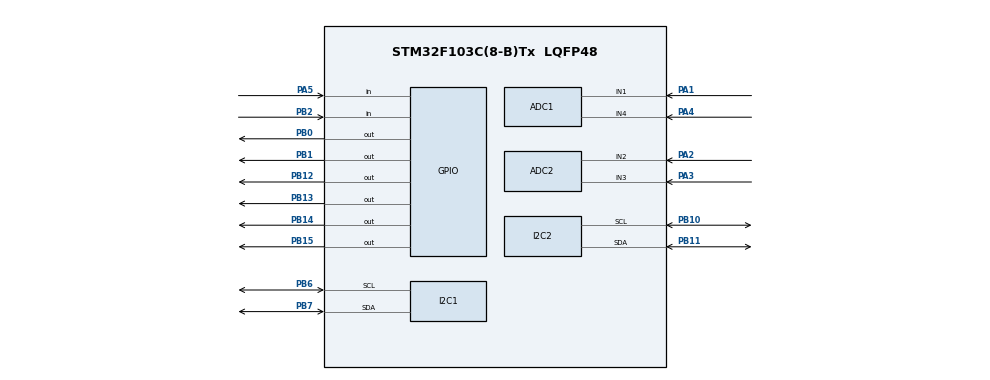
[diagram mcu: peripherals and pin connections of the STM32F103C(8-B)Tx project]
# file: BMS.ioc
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ADC1.Channel-0\#ChannelRegularConversion=ADC_CHANNEL_1
ADC1.NbrOfConversionFlag=1
ADC1.Rank-0\#ChannelRegularConversion=1
ADC1.SamplingTime-0\#ChannelRegularConversion=ADC_SAMPLETIME_1CYCLE_5
ADC1.master=1
ADC2.Channel-0\#ChannelRegularConversion=ADC_CHANNEL_3
ADC2.NbrOfConversionFlag=1
ADC2.Rank-0\#ChannelRegularConversion=1
ADC2.SamplingTime-0\#ChannelRegularConversion=ADC_SAMPLETIME_1CYCLE_5
I2C2.I2C_Mode=I2C_Standard
Mcu.Family=STM32F1
Mcu.Name=STM32F103C(8-B)Tx
Mcu.Package=LQFP48
NVIC.PriorityGroup=NVIC_PRIORITYGROUP_4
PA1.Signal=ADCx_IN1
PA13.Mode=Serial_Wire
PA13.Signal=SYS_JTMS-SWDIO
PA14.Mode=Serial_Wire
PA14.Signal=SYS_JTCK-SWCLK
PA2.Signal=ADCx_IN2
PA3.Signal=ADCx_IN3
PA4.Signal=ADCx_IN4
PA5.Signal=GPIO_Input
PB0.Signal=GPIO_Output
PB1.Signal=GPIO_Output
PB10.GPIO_Pu=GPIO_PULLUP
PB10.Mode=I2C
PB10.Signal=I2C2_SCL
PB11.GPIO_Pu=GPIO_PULLUP
PB11.Mode=I2C
PB11.Signal=I2C2_SDA
PB12.Signal=GPIO_Output
PB13.Signal=GPIO_Output
PB14.Signal=GPIO_Output
PB15.Signal=GPIO_Output
PB2.Signal=GPIO_Input
PB6.GPIO_Pu=GPIO_PULLUP
PB6.Mode=I2C
PB6.Signal=I2C1_SCL
PB7.GPIO_Pu=GPIO_PULLUP
PB7.Mode=I2C
PB7.Signal=I2C1_SDA
PC14-OSC32_IN.Signal=RCC_OSC32_IN
PC15-OSC32_OUT.Signal=RCC_OSC32_OUT
PD0-OSC_IN.Signal=RCC_OSC_IN
PD1-OSC_OUT.Signal=RCC_OSC_OUT
ProjectManager.HeapSize=0x200
ProjectManager.StackSize=0x400
ProjectManager.TargetToolchain=Makefile
RCC.AHBFreq_Value=8000000
RCC.APB1Freq_Value=8000000
RCC.APB1TimFreq_Value=8000000
RCC.APB2Freq_Value=8000000
RCC.APB2TimFreq_Value=8000000
RCC.HCLKFreq_Value=8000000
RCC.USBFreq_Value=8000000
SH.ADCx_IN1.0=ADC1_IN1,IN1
SH.ADCx_IN2.0=ADC2_IN2,IN2
SH.ADCx_IN3.0=ADC2_IN3,IN3
SH.ADCx_IN4.0=ADC1_IN4,IN4
board=custom

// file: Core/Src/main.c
/* USER CODE BEGIN Header */
/**
  ******************************************************************************
  * @file           : main.c
  * @brief          : Main program body
  ******************************************************************************
  * @attention
  *
  * <h2><center>&copy; Copyright (c) 2021 STMicroelectronics.
  * All rights reserved.</center></h2>
  *
  * This software component is licensed by ST under BSD 3-Clause license,
  * the "License"; You may not use this file except in compliance with the
  * License. You may obtain a copy of the License at:
  *                        opensource.org/licenses/BSD-3-Clause
  *
  ******************************************************************************
  */
/* USER CODE END Header */
#include "main.h"

/* USER CODE BEGIN PTD */

// Error LED codes
typedef enum BMS_Error_Code
{
 BMS_ERR_INIT_BQ77 = 1,
 BMS_ERR_CALS_ADC,
 BMS_ERR_EH           // Generic Handle_Error() error
} BMS_Error_Code;

// I2C slave commands (byte 1 recieved)
typedef enum BMS_I2C_Command
{
  BMS_GET_STATUS,
  BMS_GET_PACK_VOLTAGE,
  BMS_GET_CURRENT,
  // BMS_TURN_OUTPUT_ON,   // Only available in HOST control mode
  // BMS_TURN_OUTPUT_OFF   // Only available in HOST control mode
} BMS_I2C_Command;

/* USER CODE END PTD */

/* USER CODE BEGIN PD */

// Generic I2C stuff
#define BMS_I2C_TIMEOUT 35U   // In ms

// I2C Slave config
#define BMS_I2C_SLAVE_ADDR_BASE 0x40          // Base address of device

#define BMS_ERROR_VALUE 0xff  // Value returned if there was an error processing
                              //  a request on the slave I2C channel

// ADC polling timeout
#define BMS_ADC_TIMEOUT 35U   // In ms

// PINS
#define BMS_GPIO_0_BANK       GPIOB
#define BMS_GPIO_0_PIN        GPIO_PIN_0
#define BMS_GPIO_1_BANK       GPIOB
#define BMS_GPIO_1_PIN        GPIO_PIN_1
#define BMS_GPIO_SLOTID_BANK  GPIOB
#define BMS_GPIO_SLOTID_PIN   GPIO_PIN_2
#define BMS_GPIO_XALERT_BANK  GPIOA
#define BMS_GPIO_XALERT_PIN   GPIO_PIN_0
#define BMS_GPIO_VPACK_BANK   GPIOA
#define BMS_GPIO_VPACK_PIN    GPIO_PIN_1
#define BMS_GPIO_VOUT_BANK    GPIOA
#define BMS_GPIO_VOUT_PIN     GPIO_PIN_2
#define BMS_GPIO_IOUT_BANK    GPIOA
#define BMS_GPIO_IOUT_PIN     GPIO_PIN_3
#define BMS_GPIO_TEMP_BANK    GPIOA
#define BMS_GPIO_TEMP_PIN     GPIO_PIN_4
#define BMS_GPIO_LED0_BANK    GPIOB
#define BMS_GPIO_LED0_PIN     GPIO_PIN_12
#define BMS_GPIO_LED1_BANK    GPIOB
#define BMS_GPIO_LED1_PIN     GPIO_PIN_13
#define BMS_GPIO_LED2_BANK    GPIOB
#define BMS_GPIO_LED2_PIN     GPIO_PIN_14
#define BMS_GPIO_LED3_BANK    GPIOB
#define BMS_GPIO_LED3_PIN     GPIO_PIN_15

// ---
// Below: see Jan 2009 bq77PL900 datasheet
// ---

// I2C with bq77p900
#define BMS_BQ77_I2C_ADDR (0x10 << 1) // HEY: Does this need to be shifted?

// Registers
#define BMS_BQ77_STATUS   0x00
#define BMS_BQ77_OUTCTL   0x01
#define BMS_BQ77_STATECTL 0x02
#define BMS_BQ77_FUNCTL   0x03
#define BMS_BQ77_CELBALN  0x04
#define BMS_BQ77_CELSEL   0x05
#define BMS_BQ77_OVCFG    0x06
#define BMS_BQ77_UVCFG    0x07
#define BMS_BQ77_OUVCTL   0x08
#define BMS_BQ77_OCDCFG   0x09
#define BMS_BQ77_SCDCFG   0x0a
#define BMS_BQ77_EEPROM   0x0B

// See pg. 41
#define BMS_BQ77_STATUS_VGOOD (1 << 5)

// See pg. 42
// #define BMS_OC_DSC (1 << 1)
// #define BMS_OC_CHG (2 << 1)
#define BMS_FAST_SAMPL 0    // 0 = 50ms/cell, 1 = 100us/cell (pg. 42)

// See pg. 43
#define BMS_HOST_SHDWN 0    // In HOST mode, shutdown if PACK = 0V (disabled)
#define BMS_HOST_HMODE 0    // Set operating mode: 0 = auto, 1 = HOST
#define BMS_SNSE_CLVTG 0    // Sets cell voltage VGAIN (0.15)
#define BMS_SNSE_CLCUR 0    // Sets current monitor gain (10)

// See pg. 44
#define BMS_USES_THERM 0    // 0 = no thermistor, 1 = use thermistor

// Cell overvoltage controls
// See pg. 46
#define BMS_OV_THRSH 0x00   // The overvoltage threshold for a cell (4.15v)
#define BMS_OV_HYSTR 0x00   // Hysteresis voltage (0.1v)
#define BMS_OV_DLYTM 0x00   // Overvoltage delay time (0.5s)

// Cell undervoltage controls
// See pg. 47
#define BMS_UV_THRSH 0x00   // The overvoltage threshold for a cell (1.4v)
#define BMS_UV_HYSTR 0x00   // Hysteresis voltage (0.2v)
#define BMS_UV_SHDWN 0x00   // On undervoltage condition, automatically turn off
                            //  pack output

// Cell protection delays
// See pg. 48
#define BMS_OUV_VTRSH 0x00  // Voltage threshold?
#define BMS_OUV_DELAY 0x00  // Delay for UV condition (1s)

// Overcurrent controls
// See pg. 49
#define BMS_OCD_DELAY 0x00  // Delay for response after detection of overcurrent condition (20ms)
#define BMS_OCD_RCRMD 0     // Overcurrent/short circuit condition recovery mode (disconnected)
#define BMS_OCD_PRCRG 0     // 0-v precharge using GPOD enable (disabled)
#define BMS_OCD_BALNC 1     // Auto balance cells (enabled)

// Short-circuit controls
// See pg. 50
#define BMS_SCD_SCDVT 0x00  // Short-Circuit Discharge Voltage Threshold (60mV)
#define BMS_SCD_DELAY 0x01  // Short-circuit discharge delay (60us)

/* USER CODE END PD */

ADC_HandleTypeDef hadc1;
ADC_HandleTypeDef hadc2;

I2C_HandleTypeDef hi2c1;
I2C_HandleTypeDef hi2c2;

/* USER CODE BEGIN PV */

uint16_t bms_i2c_addr;  // Address of BMS (slave interface)
uint8_t data_buf;       // Data to be sent or received over I2C
uint32_t hadc_val;      // Read ADC value

/* USER CODE END PV */

void SystemClock_Config(void);
static void MX_GPIO_Init(void);
static void MX_ADC1_Init(void);
static void MX_ADC2_Init(void);
static void MX_I2C1_Init(void);
static void MX_I2C2_Init(void);
/* USER CODE BEGIN PFP */

// Display an error code on the LEDS
static void disp_error(BMS_Error_Code code);

/* USER CODE END PFP */

int main(void)
{

  /* MCU Configuration--------------------------------------------------------*/

  /* Reset of all peripherals, Initializes the Flash interface and the Systick. */
  HAL_Init();

  /* Configure the system clock */
  SystemClock_Config();

  /* Initialize all configured peripherals */
  MX_GPIO_Init();
  MX_ADC1_Init();
  MX_ADC2_Init();
  MX_I2C1_Init();
  MX_I2C2_Init();
  /* USER CODE BEGIN 2 */

  // Init GPIO
  HAL_GPIO_WritePin(BMS_GPIO_0_BANK, BMS_GPIO_0_PIN, GPIO_PIN_RESET);
  HAL_GPIO_WritePin(BMS_GPIO_1_BANK, BMS_GPIO_1_PIN, GPIO_PIN_RESET);

  // LEDs are on during init
  HAL_GPIO_WritePin(BMS_GPIO_LED0_BANK, BMS_GPIO_LED0_PIN, GPIO_PIN_SET);
  HAL_GPIO_WritePin(BMS_GPIO_LED1_BANK, BMS_GPIO_LED1_PIN, GPIO_PIN_SET);
  HAL_GPIO_WritePin(BMS_GPIO_LED2_BANK, BMS_GPIO_LED2_PIN, GPIO_PIN_SET);
  HAL_GPIO_WritePin(BMS_GPIO_LED3_BANK, BMS_GPIO_LED3_PIN, GPIO_PIN_SET);

  // Get slave address
  bms_i2c_addr = HAL_GPIO_ReadPin(BMS_GPIO_SLOTID_BANK, BMS_GPIO_SLOTID_PIN) | BMS_I2C_SLAVE_ADDR_BASE;

  // Setup the charge controller
  data_buf = (BMS_FAST_SAMPL << 7);
  if (HAL_I2C_Mem_Write(&hi2c2, BMS_BQ77_I2C_ADDR, BMS_BQ77_OUTCTL, 1, &data_buf, 1, BMS_I2C_TIMEOUT) == HAL_ERROR)
    disp_error(BMS_ERR_INIT_BQ77);

  data_buf = (BMS_SNSE_CLCUR << 7) | (BMS_SNSE_CLVTG << 6) | (BMS_HOST_HMODE << 1) | (BMS_HOST_SHDWN << 0);
  if (HAL_I2C_Mem_Write(&hi2c2, BMS_BQ77_I2C_ADDR, BMS_BQ77_STATECTL, 1, &data_buf, 1, BMS_I2C_TIMEOUT) == HAL_ERROR)
    disp_error(BMS_ERR_INIT_BQ77);

  data_buf = (BMS_USES_THERM << 5);
  if (HAL_I2C_Mem_Write(&hi2c2, BMS_BQ77_I2C_ADDR, BMS_BQ77_FUNCTL, 1, &data_buf, 1, BMS_I2C_TIMEOUT) == HAL_ERROR)
    disp_error(BMS_ERR_INIT_BQ77);

  data_buf = (BMS_OV_DLYTM << 5) | (BMS_OV_HYSTR << 3) | (BMS_OV_THRSH << 0);
  if (HAL_I2C_Mem_Write(&hi2c2, BMS_BQ77_I2C_ADDR, BMS_BQ77_OVCFG, 1, &data_buf, 1, BMS_I2C_TIMEOUT) == HAL_ERROR)
    disp_error(BMS_ERR_INIT_BQ77);

  data_buf = (BMS_UV_SHDWN << 6) | (BMS_UV_HYSTR << 4) | (BMS_UV_THRSH << 0);
  if (HAL_I2C_Mem_Write(&hi2c2, BMS_BQ77_I2C_ADDR, BMS_BQ77_UVCFG, 1, &data_buf, 1, BMS_I2C_TIMEOUT) == HAL_ERROR)
    disp_error(BMS_ERR_INIT_BQ77);

  data_buf = (BMS_OUV_DELAY << 4) | (BMS_OUV_VTRSH << 0);
  if (HAL_I2C_Mem_Write(&hi2c2, BMS_BQ77_I2C_ADDR, BMS_BQ77_OUVCTL, 1, &data_buf, 1, BMS_I2C_TIMEOUT) == HAL_ERROR)
    disp_error(BMS_ERR_INIT_BQ77);

  data_buf = (BMS_OCD_BALNC << 7) | (BMS_OCD_PRCRG << 6) | (BMS_OCD_RCRMD << 5) | (BMS_OCD_DELAY << 0);
  if (HAL_I2C_Mem_Write(&hi2c2, BMS_BQ77_I2C_ADDR, BMS_BQ77_OCDCFG, 1, &data_buf, 1, BMS_I2C_TIMEOUT) == HAL_ERROR)
    disp_error(BMS_ERR_INIT_BQ77);

  data_buf = (BMS_SCD_DELAY << 4) | (BMS_SCD_SCDVT << 0);
  if (HAL_I2C_Mem_Write(&hi2c2, BMS_BQ77_I2C_ADDR, BMS_BQ77_SCDCFG, 1, &data_buf, 1, BMS_I2C_TIMEOUT) == HAL_ERROR)
    disp_error(BMS_ERR_INIT_BQ77);

  HAL_ADC_Init(&hadc1);
  HAL_ADC_Init(&hadc2);

  /* Run the ADC calibration */
  if (HAL_ADCEx_Calibration_Start(&hadc1) != HAL_OK || HAL_ADCEx_Calibration_Start(&hadc2) != HAL_OK)
  {
    /* Calibration Error */
    disp_error(BMS_ERR_CALS_ADC);
  }

  // Shut off LEDs
  HAL_GPIO_WritePin(BMS_GPIO_LED0_BANK, BMS_GPIO_LED0_PIN, GPIO_PIN_RESET);
  HAL_GPIO_WritePin(BMS_GPIO_LED1_BANK, BMS_GPIO_LED1_PIN, GPIO_PIN_RESET);
  HAL_GPIO_WritePin(BMS_GPIO_LED2_BANK, BMS_GPIO_LED2_PIN, GPIO_PIN_RESET);
  HAL_GPIO_WritePin(BMS_GPIO_LED3_BANK, BMS_GPIO_LED3_PIN, GPIO_PIN_RESET);

  /* USER CODE END 2 */

  /* Infinite loop */
  /* USER CODE BEGIN WHILE */
  while (1)
  {
    // Check if there is any incoming commands from the PMS (blocking)
    if (HAL_I2C_Slave_Receive(&hi2c1, data_buf, 1, BMS_I2C_TIMEOUT) != HAL_OK)
    {
      /* intentionally empty, left for easy error handling implementation in the future */
    }
    else
    {
      switch ((uint8_t)data_buf)  // Only care about byte 0
      {
        case BMS_GET_STATUS:

          if (HAL_I2C_Mem_Read(&hi2c2, BMS_BQ77_I2C_ADDR, BMS_BQ77_STATUS, I2C_MEMADD_SIZE_8BIT, &data_buf, 1, BMS_I2C_TIMEOUT) == HAL_OK)
          {
            data_buf &= ~(BMS_BQ77_STATUS_VGOOD); // Return STATUS reg without EEPROM voltage flag
          }
          else
          {
            data_buf = BMS_ERROR_VALUE;
          }

          HAL_I2C_Slave_Transmit(&hi2c1, &data_buf, 1, BMS_I2C_TIMEOUT);
          break;
        case BMS_GET_PACK_VOLTAGE:

          HAL_ADC_Start(&hadc1);

          if (HAL_ADC_PollForConversion(&hadc1, BMS_ADC_TIMEOUT) == HAL_OK)
          {
            hadc_val = HAL_ADC_GetValue(&hadc1); // NOTE: not sure how to tell this which pin to read
          }
          else
          {
            hadc_val = 0;
          }

          HAL_ADC_Stop(&hadc1);

          // SEND BACK hadc_val
          HAL_I2C_Slave_Transmit(&hi2c1, &hadc_val, 4, BMS_I2C_TIMEOUT);

          break;
        case BMS_GET_CURRENT:

            HAL_ADC_Start(&hadc2);

            if (HAL_ADC_PollForConversion(&hadc2, BMS_ADC_TIMEOUT) == HAL_OK)
            {
              hadc_val = HAL_ADC_GetValue(&hadc2); // NOTE: not sure how to tell this which pin to read
            }
            else
            {
              hadc_val = 0;
            }

            HAL_ADC_Stop(&hadc2);

            // SEND BACK hadc_val
            HAL_I2C_Slave_Transmit(&hi2c1, &hadc_val, 4, BMS_I2C_TIMEOUT);

          break;
        // case BMS_TURN_OUTPUT_ON:   // Only available in HOST control mode

        //   if (BMS_HOST_HMODE)
        //   {
        //     data_buf = (BMS_OC_DSC) | (BMS_FAST_SAMPL << 7);
        //     if (HAL_I2C_Mem_Write(&hi2c2, BMS_BQ77_I2C_ADDR, BMS_BQ77_OUTCTL, I2C_MEMADD_SIZE_8BIT, &data_buf, 1, BMS_I2C_TIMEOUT) == HAL_OK)
        //     {
        //       data_buf = 0;
        //     }
        //     else
        //     {
        //       data_buf = BMS_ERROR_VALUE;
        //     }
        //     HAL_I2C_Slave_Transmit(&hi2c1, &data_buf, 1, BMS_I2C_TIMEOUT);
        //   }
        //   break;
        // case BMS_TURN_OUTPUT_OFF:   // Only available in HOST control mode

        //   if (BMS_HOST_HMODE)
        //   {
        //     // SOMETHING
        //   }
        //   break;
        default:

          break;
      }
    }

    /* USER CODE END WHILE */

  }
}

void SystemClock_Config(void)
{
  RCC_OscInitTypeDef RCC_OscInitStruct = {0};
  RCC_ClkInitTypeDef RCC_ClkInitStruct = {0};
  RCC_PeriphCLKInitTypeDef PeriphClkInit = {0};

  /** Initializes the RCC Oscillators according to the specified parameters
  * in the RCC_OscInitTypeDef structure.
  */
  RCC_OscInitStruct.OscillatorType = RCC_OSCILLATORTYPE_HSI;
  RCC_OscInitStruct.HSIState = RCC_HSI_ON;
  RCC_OscInitStruct.HSICalibrationValue = RCC_HSICALIBRATION_DEFAULT;
  RCC_OscInitStruct.PLL.PLLState = RCC_PLL_NONE;
  if (HAL_RCC_OscConfig(&RCC_OscInitStruct) != HAL_OK)
  {
    Error_Handler();
  }
  /** Initializes the CPU, AHB and APB buses clocks
  */
  RCC_ClkInitStruct.ClockType = RCC_CLOCKTYPE_HCLK|RCC_CLOCKTYPE_SYSCLK
                              |RCC_CLOCKTYPE_PCLK1|RCC_CLOCKTYPE_PCLK2;
  RCC_ClkInitStruct.SYSCLKSource = RCC_SYSCLKSOURCE_HSI;
  RCC_ClkInitStruct.AHBCLKDivider = RCC_SYSCLK_DIV1;
  RCC_ClkInitStruct.APB1CLKDivider = RCC_HCLK_DIV1;
  RCC_ClkInitStruct.APB2CLKDivider = RCC_HCLK_DIV1;

  if (HAL_RCC_ClockConfig(&RCC_ClkInitStruct, FLASH_LATENCY_0) != HAL_OK)
  {
    Error_Handler();
  }
  PeriphClkInit.PeriphClockSelection = RCC_PERIPHCLK_ADC;
  PeriphClkInit.AdcClockSelection = RCC_ADCPCLK2_DIV2;
  if (HAL_RCCEx_PeriphCLKConfig(&PeriphClkInit) != HAL_OK)
  {
    Error_Handler();
  }
}

static void MX_ADC1_Init(void)
{

  ADC_ChannelConfTypeDef sConfig = {0};

  /** Common config
  */
  hadc1.Instance = ADC1;
  hadc1.Init.ScanConvMode = ADC_SCAN_DISABLE;
  hadc1.Init.ContinuousConvMode = DISABLE;
  hadc1.Init.DiscontinuousConvMode = DISABLE;
  hadc1.Init.ExternalTrigConv = ADC_SOFTWARE_START;
  hadc1.Init.DataAlign = ADC_DATAALIGN_RIGHT;
  hadc1.Init.NbrOfConversion = 1;
  if (HAL_ADC_Init(&hadc1) != HAL_OK)
  {
    Error_Handler();
  }
  /** Configure Regular Channel
  */
  sConfig.Channel = ADC_CHANNEL_1;
  sConfig.Rank = ADC_REGULAR_RANK_1;
  sConfig.SamplingTime = ADC_SAMPLETIME_1CYCLE_5;
  if (HAL_ADC_ConfigChannel(&hadc1, &sConfig) != HAL_OK)
  {
    Error_Handler();
  }

}

static void MX_ADC2_Init(void)
{

  ADC_ChannelConfTypeDef sConfig = {0};

  /** Common config
  */
  hadc2.Instance = ADC2;
  hadc2.Init.ScanConvMode = ADC_SCAN_DISABLE;
  hadc2.Init.ContinuousConvMode = DISABLE;
  hadc2.Init.DiscontinuousConvMode = DISABLE;
  hadc2.Init.ExternalTrigConv = ADC_SOFTWARE_START;
  hadc2.Init.DataAlign = ADC_DATAALIGN_RIGHT;
  hadc2.Init.NbrOfConversion = 1;
  if (HAL_ADC_Init(&hadc2) != HAL_OK)
  {
    Error_Handler();
  }
  /** Configure Regular Channel
  */
  sConfig.Channel = ADC_CHANNEL_3;
  sConfig.Rank = ADC_REGULAR_RANK_1;
  sConfig.SamplingTime = ADC_SAMPLETIME_1CYCLE_5;
  if (HAL_ADC_ConfigChannel(&hadc2, &sConfig) != HAL_OK)
  {
    Error_Handler();
  }

}

static void MX_I2C1_Init(void)
{

  hi2c1.Instance = I2C1;
  hi2c1.Init.ClockSpeed = 100000;
  hi2c1.Init.DutyCycle = I2C_DUTYCYCLE_2;
  hi2c1.Init.OwnAddress1 = 0;
  hi2c1.Init.AddressingMode = I2C_ADDRESSINGMODE_7BIT;
  hi2c1.Init.DualAddressMode = I2C_DUALADDRESS_DISABLE;
  hi2c1.Init.OwnAddress2 = 0;
  hi2c1.Init.GeneralCallMode = I2C_GENERALCALL_DISABLE;
  hi2c1.Init.NoStretchMode = I2C_NOSTRETCH_DISABLE;
  if (HAL_I2C_Init(&hi2c1) != HAL_OK)
  {
    Error_Handler();
  }

}

static void MX_I2C2_Init(void)
{

  hi2c2.Instance = I2C2;
  hi2c2.Init.ClockSpeed = 100000;
  hi2c2.Init.DutyCycle = I2C_DUTYCYCLE_2;
  hi2c2.Init.OwnAddress1 = 0;
  hi2c2.Init.AddressingMode = I2C_ADDRESSINGMODE_7BIT;
  hi2c2.Init.DualAddressMode = I2C_DUALADDRESS_DISABLE;
  hi2c2.Init.OwnAddress2 = 0;
  hi2c2.Init.GeneralCallMode = I2C_GENERALCALL_DISABLE;
  hi2c2.Init.NoStretchMode = I2C_NOSTRETCH_DISABLE;
  if (HAL_I2C_Init(&hi2c2) != HAL_OK)
  {
    Error_Handler();
  }

}

static void MX_GPIO_Init(void)
{
  GPIO_InitTypeDef GPIO_InitStruct = {0};

  /* GPIO Ports Clock Enable */
  __HAL_RCC_GPIOC_CLK_ENABLE();
  __HAL_RCC_GPIOD_CLK_ENABLE();
  __HAL_RCC_GPIOA_CLK_ENABLE();
  __HAL_RCC_GPIOB_CLK_ENABLE();

  /*Configure GPIO pin Output Level */
  HAL_GPIO_WritePin(GPIOB, GPIO_PIN_0|GPIO_PIN_1|GPIO_PIN_12|GPIO_PIN_13
                          |GPIO_PIN_14|GPIO_PIN_15, GPIO_PIN_RESET);

  /*Configure GPIO pin : PA5 */
  GPIO_InitStruct.Pin = GPIO_PIN_5;
  GPIO_InitStruct.Mode = GPIO_MODE_INPUT;
  GPIO_InitStruct.Pull = GPIO_NOPULL;
  HAL_GPIO_Init(GPIOA, &GPIO_InitStruct);

  /*Configure GPIO pins : PB0 PB1 PB12 PB13
                           PB14 PB15 */
  GPIO_InitStruct.Pin = GPIO_PIN_0|GPIO_PIN_1|GPIO_PIN_12|GPIO_PIN_13
                          |GPIO_PIN_14|GPIO_PIN_15;
  GPIO_InitStruct.Mode = GPIO_MODE_OUTPUT_PP;
  GPIO_InitStruct.Pull = GPIO_NOPULL;
  GPIO_InitStruct.Speed = GPIO_SPEED_FREQ_LOW;
  HAL_GPIO_Init(GPIOB, &GPIO_InitStruct);

  /*Configure GPIO pin : PB2 */
  GPIO_InitStruct.Pin = GPIO_PIN_2;
  GPIO_InitStruct.Mode = GPIO_MODE_INPUT;
  GPIO_InitStruct.Pull = GPIO_NOPULL;
  HAL_GPIO_Init(GPIOB, &GPIO_InitStruct);

}

/* USER CODE BEGIN 4 */

/**
 * @brief This function displays a given error code on the LEDs
 * @param code The code to be displayed on the LEDs
 * @return None
 */
static void disp_error(BMS_Error_Code code)
{
  __disable_irq();

  uint32_t i;
  while (1) {
    HAL_GPIO_WritePin(BMS_GPIO_LED0_BANK, BMS_GPIO_LED0_PIN, code & (1 << 0) ? GPIO_PIN_SET : GPIO_PIN_RESET);
    HAL_GPIO_WritePin(BMS_GPIO_LED1_BANK, BMS_GPIO_LED1_PIN, code & (1 << 1) ? GPIO_PIN_SET : GPIO_PIN_RESET);
    HAL_GPIO_WritePin(BMS_GPIO_LED2_BANK, BMS_GPIO_LED2_PIN, code & (1 << 2) ? GPIO_PIN_SET : GPIO_PIN_RESET);
    HAL_GPIO_WritePin(BMS_GPIO_LED3_BANK, BMS_GPIO_LED3_PIN, code & (1 << 3) ? GPIO_PIN_SET : GPIO_PIN_RESET);

    for (i = 0; i < 100000; i++)
    {
    /* spin */
    }

    // Shut off LEDs
    HAL_GPIO_WritePin(BMS_GPIO_LED0_BANK, BMS_GPIO_LED0_PIN, GPIO_PIN_RESET);
    HAL_GPIO_WritePin(BMS_GPIO_LED1_BANK, BMS_GPIO_LED1_PIN, GPIO_PIN_RESET);
    HAL_GPIO_WritePin(BMS_GPIO_LED2_BANK, BMS_GPIO_LED2_PIN, GPIO_PIN_RESET);
    HAL_GPIO_WritePin(BMS_GPIO_LED3_BANK, BMS_GPIO_LED3_PIN, GPIO_PIN_RESET);

    for (i = 0; i < 100000; i++)
    {
    /* spin */
    }
  }
}

/* USER CODE END 4 */

void Error_Handler(void)
{
  /* USER CODE BEGIN Error_Handler_Debug */
  /* User can add his own implementation to report the HAL error return state */
  __disable_irq();
  while (1)
  {
    disp_error(BMS_ERR_EH);
  }
  /* USER CODE END Error_Handler_Debug */
}
